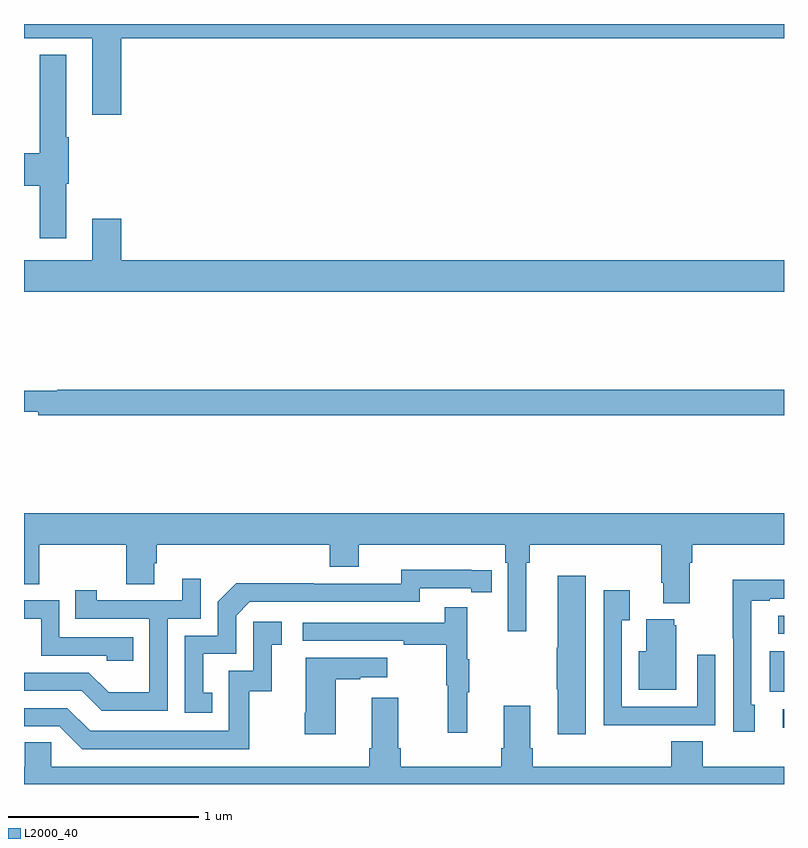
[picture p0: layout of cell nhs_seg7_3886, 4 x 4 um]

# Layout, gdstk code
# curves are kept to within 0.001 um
import gdstk
lib = gdstk.Library(unit=1e-6, precision=1e-09)
def R(c, l, rs):  # rectangles x0, y0, x1, y1
    for r in rs: c.add(gdstk.rectangle(r[:2], r[2:], *l))
def P(c, l, *ps):  # polygons
    for p in ps: c.add(gdstk.Polygon(p, *l))
L2000_40 = (2000, 40)

nhs_seg7_3886 = lib.new_cell('nhs_seg7_3886')
R(nhs_seg7_3886, L2000_40, [(360.993,1022.297,361,1022.394), (360.926,1022.486,361,1022.698), (360.969,1022.79,361,1022.886)])
P(nhs_seg7_3886, L2000_40, [(357.512,1025.924),(361,1025.924),(361,1026),(357,1026),(357,1025.924),(357.359,1025.924),(357.359,1025.523),(357.512,1025.523)],
  [(357.223,1025.16),(357.236,1025.16),(357.236,1025.404),(357.223,1025.404),(357.223,1025.839),(357.083,1025.839),(357.083,1025.321),(357,1025.321),(357,1025.149),(357.083,1025.149),(357.083,1024.872),(357.223,1024.872)],
  [(361,1024.756),(357.512,1024.756),(357.512,1024.975),(357.359,1024.975),(357.359,1024.756),(357,1024.756),(357,1024.592),(361,1024.592)],
  [(361,1024.076),(357.176,1024.076),(357.176,1024.069),(357,1024.069),(357,1023.959),(357.076,1023.959),(357.076,1023.94),(361,1023.94)],
  [(359.644,1023.164),(359.663,1023.164),(359.663,1023.26),(360.353,1023.26),(360.353,1023.058),(360.365,1023.058),(360.365,1022.951),(360.505,1022.951),(360.505,1023.164),(360.518,1023.164),(360.518,1023.26),(361,1023.26),(361,1023.424),(357,1023.424),(357,1023.052),(357.081,1023.052),(357.081,1023.26),(357.538,1023.26),(357.538,1023.052),(357.685,1023.052),(357.685,1023.162),(357.698,1023.162),(357.698,1023.26),(358.61,1023.26),(358.61,1023.143),(358.762,1023.143),(358.762,1023.26),(359.534,1023.26),(359.534,1023.164),(359.547,1023.164),(359.547,1022.805),(359.644,1022.805)],
  [(357.992,1022.481),(357.943,1022.481),(357.943,1022.685),(358.116,1022.685),(358.116,1022.886),(358.188,1022.958),(359.082,1022.958),(359.082,1023.03),(359.354,1023.03),(359.354,1023.01),(359.462,1023.01),(359.462,1023.126),(358.986,1023.127),(358.986,1023.054),(358.526,1023.054),(358.526,1023.056),(358.118,1023.056),(358.02,1022.958),(358.02,1022.781),(357.846,1022.781),(357.846,1022.376),(357.992,1022.376)],
  [(359.956,1023.097),(359.81,1023.097),(359.81,1022.717),(359.803,1022.717),(359.803,1022.5),(359.81,1022.5),(359.81,1022.262),(359.956,1022.262)],
  [(357.756,1022.871),(357.93,1022.871),(357.93,1023.079),(357.833,1023.079),(357.833,1022.967),(357.382,1022.967),(357.382,1023.019),(357.271,1023.019),(357.271,1022.871),(357.66,1022.871),(357.66,1022.482),(357.446,1022.482),(357.342,1022.586),(357,1022.586),(357,1022.49),(357.305,1022.49),(357.41,1022.385),(357.756,1022.385)],
  [(360.847,1022.418),(360.828,1022.418),(360.828,1022.964),(360.925,1022.964),(360.925,1022.976),(361,1022.976),(361,1023.074),(360.73,1023.074),(360.73,1022.767),(360.732,1022.767),(360.732,1022.274),(360.847,1022.274)],
  [(360.323,1022.31),(360.639,1022.31),(360.639,1022.68),(360.543,1022.68),(360.543,1022.406),(360.147,1022.406),(360.147,1022.863),(360.187,1022.863),(360.187,1023.019),(360.051,1023.019),(360.051,1022.309),(360.323,1022.309)],
  [(357.575,1022.772),(357.186,1022.772),(357.186,1022.967),(357,1022.967),(357,1022.871),(357.09,1022.871),(357.09,1022.676),(357.435,1022.676),(357.435,1022.649),(357.575,1022.649)],
  [(359.333,1022.483),(359.344,1022.483),(359.344,1022.657),(359.333,1022.657),(359.333,1022.929),(359.215,1022.929),(359.215,1022.85),(358.467,1022.85),(358.467,1022.754),(358.999,1022.754),(358.999,1022.734),(359.223,1022.734),(359.223,1022.52),(359.23,1022.52),(359.23,1022.271),(359.333,1022.271)],
  [(360.433,1022.835),(360.422,1022.835),(360.422,1022.866),(360.275,1022.866),(360.275,1022.698),(360.236,1022.698),(360.236,1022.495),(360.433,1022.495)],
  [(358.186,1022.487),(358.304,1022.487),(358.304,1022.733),(358.357,1022.733),(358.357,1022.854),(358.206,1022.854),(358.206,1022.595),(358.077,1022.595),(358.077,1022.28),(357.348,1022.28),(357.228,1022.4),(357,1022.4),(357,1022.304),(357.186,1022.304),(357.306,1022.184),(358.186,1022.184)],
  [(358.642,1022.551),(358.769,1022.551),(358.769,1022.561),(358.912,1022.561),(358.912,1022.665),(358.484,1022.665),(358.484,1022.374),(358.477,1022.374),(358.477,1022.262),(358.642,1022.262)],
  [(361,1022.092),(360.572,1022.092),(360.572,1022.225),(360.407,1022.225),(360.407,1022.092),(359.678,1022.092),(359.678,1022.188),(359.665,1022.188),(359.665,1022.413),(359.525,1022.413),(359.525,1022.188),(359.513,1022.188),(359.513,1022.092),(358.982,1022.092),(358.982,1022.188),(358.969,1022.188),(358.969,1022.455),(358.829,1022.455),(358.829,1022.188),(358.817,1022.188),(358.817,1022.092),(357.144,1022.092),(357.144,1022.219),(357.005,1022.219),(357.005,1022.092),(357,1022.092),(357,1022),(361,1022)])

lib.write_gds('nhs_seg7_3886.gds')
